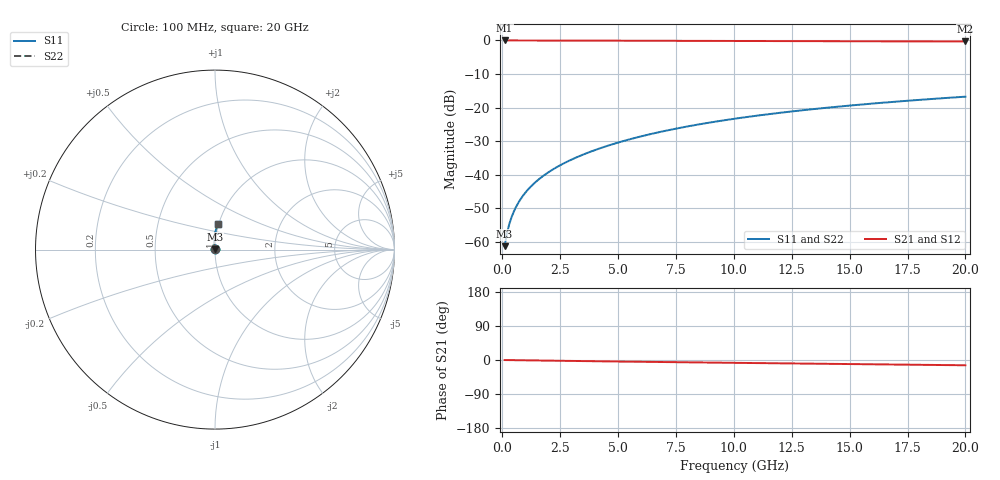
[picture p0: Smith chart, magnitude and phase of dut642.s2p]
! Touchstone file exported from HFSS 2024.1.0
!  File:  C:/UserFiles/LocalFiles/RDL_TSV_Batchsim/temp_RDL_top_642_1779780980.aedt
!  Generated:  03:38:44 PM May 26, 2026
!  Design:  RDL_top
!  Project:  temp_RDL_top_642_1779780980
!  Setup:  Setup1
!  Solution:  Sweep
! Variables:
!  dtsv = 10.80580581um
!  hbump = 3um
!  htsv = 51.59um
!  ldown = 100um
!  lrdl = 175.01um
!  p = 40
!  p1 = 57.57um
!  rhole = 1um
!  t = 450um
!  tdown = 3.915915916um
!  trdl = 4.77um
!  wdown = 15.38538539um
!  wrdl = 29.96um
# GHz S MA R 50.000000
! Terminal data exported
! Port[1] = Box2_T1
! Port[2] = Box2_T2
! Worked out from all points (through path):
!   200 points, 100 MHz to 20 GHz, reference 50 ohm
!   highest |S21| = -0.01 dB at 100 MHz (marker M1); lowest = -0.3 dB at 20 GHz (marker M2)
!   group delay of S21, straight-line fit = 1.9 ps
!   lowest |S11| = -61.3 dB at 100 MHz (marker M3), VSWR 1.00, Z = 50.1 + j0.06 ohm
!   |S11| at or under -10 dB: start of sweep to end of sweep
!   |S22| runs from -61.3 to -16.7 dB; largest |S21 - S12| = 2.1e-15
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0.1  0.0008646 43.9  0.9994 -0.1  0.9994 -0.1  0.0008646 43.9
! Gamma 0 0 0 0
! Port Impedance 50 0 50 0
0.2  0.00134 60.3  0.9993 -0.2  0.9993 -0.2  0.00134 60.3
0.3  0.001838 67.8  0.9992 -0.3  0.9992 -0.3  0.001837 67.8
0.4  0.002337 72.4  0.9992 -0.3  0.9992 -0.3  0.002337 72.4
0.5  0.002841 75.6  0.9991 -0.4  0.9991 -0.4  0.002841 75.6
0.6  0.00335 78.0  0.9991 -0.5  0.9991 -0.5  0.00335 78.0
0.8  0.004383 81.5  0.9989 -0.7  0.9989 -0.7  0.004383 81.5
1.1  0.005968 84.9  0.9987 -0.9  0.9987 -0.9  0.005968 84.9
1.5  0.008138 87.8  0.9983 -1.3  0.9983 -1.3  0.008138 87.8
1.8  0.009808 89.3  0.9979 -1.5  0.9979 -1.5  0.009808 89.3
2.1  0.01152 90.6  0.9974 -1.8  0.9974 -1.8  0.01152 90.6
2.7  0.01505 92.4  0.9964 -2.3  0.9964 -2.3  0.01505 92.4
3.5  0.02004 94.0  0.9948 -2.9  0.9948 -2.9  0.02004 94.0
4.2  0.02464 94.8  0.9932 -3.4  0.9932 -3.4  0.02464 94.8
5  0.03015 95.3  0.9914 -4.0  0.9914 -4.0  0.03015 95.3
5.9  0.03661 95.3  0.9893 -4.7  0.9893 -4.7  0.03661 95.3
6.8  0.0433 95.0  0.9873 -5.3  0.9873 -5.3  0.0433 95.0
8.4  0.05555 94.0  0.9839 -6.4  0.9839 -6.4  0.05555 94.0
10.1  0.06883 92.5  0.9806 -7.5  0.9806 -7.5  0.06882 92.5
13.4  0.09473 89.3  0.9749 -9.7  0.9749 -9.7  0.09473 89.3
16.7  0.1203 86.1  0.9696 -11.8  0.9696 -11.8  0.1203 86.1
20  0.1454 83.1  0.9644 -13.9  0.9644 -13.9  0.1454 83.1
